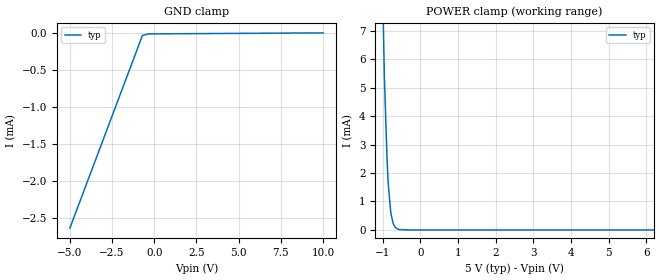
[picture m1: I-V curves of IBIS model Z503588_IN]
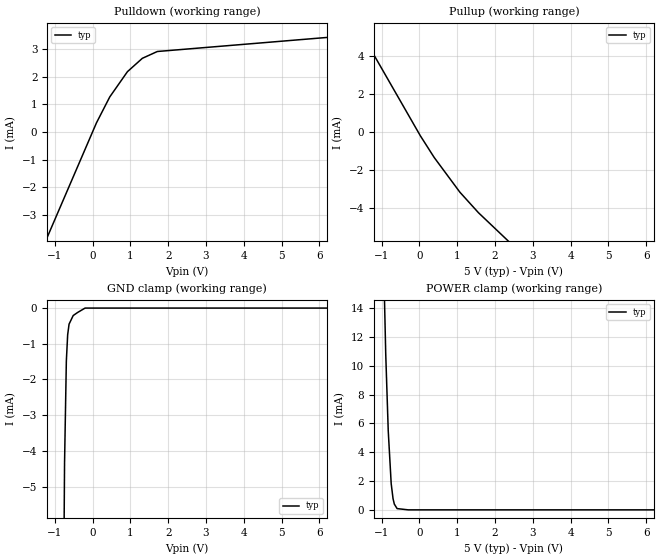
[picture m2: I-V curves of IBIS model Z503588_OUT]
| YOU ARE ONLY AUTHORIZED TO USE THIS SOFTWARE
| ACCORDING TO LICENSOR'S LICENSE RESTRICTIONS.
[IBIS Ver] 3.1
[File Name] mc14163bcl.ibs
[File Rev] 2.0
[Source] Measured and created by ICX Technology
[Date] Friday 7/14/00 9:07:53 AM
[Copyright]
| (C) COPYRIGHT 1993-2000
| MENTOR GRAPHICS CORPORATION
| ICX STANDARD LIBRARY, ICX PROJECT MODELING,
| ICX CUSTOM MODELING, ICX VENDOR MODEL
| ALL RIGHTS RESERVED.
| THE FOLLOWING ARE TRADEMARKS OR SERVICE MARKS OF
| MENTOR GRAPHICS CORPORATION:ICX (R), ICX STANDARD
| LIBRARY(R), ICX PROJECT MODELING(R), ICX CUSTOM
| MODELING(R), qualityIBIS(TM), MODELVIEWER(TM),
| AND MODELEDITOR(TM)
| ALL COPIES OF SOFTWARE, INCLUDING BUT NOT LIMITED TO
| ANY MODIFICATIONS, ENHANCEMENTS OR DERIVATIVE WORKS,
| MUST CONTAIN ALL MENTOR GRAPHICS CORPORATION'S
| NOTICES AND LEGENDS, INCLUDING THOSE EMBEDDED IN
| SOFTWARE AND THOSE AFFIXED TO SOFTWARE MEDIUM
| AND CONTAINER, AS RECEIVED FROM MENTOR GRAPHICS
| CORPORATION.
|  ZAP Model Builder 2.7
[Component] MC14163BCL
[Manufacturer] OnSemiconductor
[Package]
| variable   typ   min   max
R_pkg  .212ohms NA NA
L_pkg  4.758nH NA NA
C_pkg  1.944pF NA NA
[Pin] signal_name  model_name  R_pin  L_pin C_pin
1 _CLR Z503588_IN .224 7.258n 2.683p
2 CLK Z503588_IN .216 5.258n 2.19p
3 P1 Z503588_IN .208 3.758n 1.697p
4 P2 Z503588_IN .2 2.758n 1.204p
5 P3 Z503588_IN .2 2.758n 1.204p
6 P4 Z503588_IN .208 3.758n 1.697p
7 PE Z503588_IN .216 5.258n 2.19p
8 VSS POWER .224 7.258n 2.683p
9 _LOAD Z503588_IN .224 7.258n 2.683p
10 T_C Z503588_IN .216 5.258n 2.19p
11 Q4 Z503588_OUT .208 3.758n 1.697p
12 Q3 Z503588_OUT .2 2.758n 1.204p
13 Q2 Z503588_OUT .2 2.758n 1.204p
14 Q1 Z503588_OUT .208 3.758n 1.697p
15 CO Z503588_OUT .216 5.258n 2.19p
16 VDD POWER .224 7.258n 2.683p
| Models and submodels in the file (2): Z503588_IN (Input), Z503588_OUT (Output)
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| (C) COPYRIGHT 1993-2000
| MENTOR GRAPHICS CORPORATION
| ICX STANDARD LIBRARY, ICX PROJECT MODELING,
| ICX CUSTOM MODELING, ICX VENDOR MODEL
| ALL RIGHTS RESERVED.
| THE FOLLOWING ARE TRADEMARKS OR SERVICE MARKS OF
| MENTOR GRAPHICS CORPORATION:ICX (R), ICX STANDARD
| LIBRARY(R), ICX PROJECT MODELING(R), ICX CUSTOM
| MODELING(R), qualityIBIS(TM), MODELVIEWER(TM),
| AND MODELEDITOR(TM)
| ALL COPIES OF SOFTWARE, INCLUDING BUT NOT LIMITED TO
| ANY MODIFICATIONS, ENHANCEMENTS OR DERIVATIVE WORKS,
| MUST CONTAIN ALL MENTOR GRAPHICS CORPORATION'S
| NOTICES AND LEGENDS, INCLUDING THOSE EMBEDDED IN
| SOFTWARE AND THOSE AFFIXED TO SOFTWARE MEDIUM
| AND CONTAINER, AS RECEIVED FROM MENTOR GRAPHICS
| CORPORATION.
| Model Application Version 1.89 2/18/99.
[Model] Z503588_IN
Model_type Input
Vinl = 1.500V
Vinh = 3.500V
C_comp 4.000pF NA NA
| variable typ   min   max
[Voltage Range] 5.000V NA NA
[GND Clamp Reference] 0.000V NA NA
[POWER Clamp Reference] 5.000V NA NA
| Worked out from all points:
|   POWER clamp passes 1 mA (typ) near -0.81 V on its own axis
[GND Clamp]
-5V       -2.632mA   NA         NA
-703.2mV  -35.25uA   NA         NA
-351.6mV  -12.95uA   NA         NA
10V       521nA      NA         NA
[POWER Clamp]
-5V       277.7mA    NA         NA
-957mV    5.37mA     NA         NA
-884mV    2.421mA    NA         NA
-854mV    1.612mA    NA         NA
-785mV    587.1uA    NA         NA
-725mV    236.6uA    NA         NA
-669mV    90.14uA    NA         NA
-572mV    12.65uA    NA         NA
-286mV    0A         NA         NA
10V       0A         NA         NA
| (C) COPYRIGHT 1993-2000
| MENTOR GRAPHICS CORPORATION
| ICX STANDARD LIBRARY, ICX PROJECT MODELING,
| ICX CUSTOM MODELING, ICX VENDOR MODEL
| ALL RIGHTS RESERVED.
| THE FOLLOWING ARE TRADEMARKS OR SERVICE MARKS OF
| MENTOR GRAPHICS CORPORATION:ICX (R), ICX STANDARD
| LIBRARY(R), ICX PROJECT MODELING(R), ICX CUSTOM
| MODELING(R), qualityIBIS(TM), MODELVIEWER(TM),
| AND MODELEDITOR(TM)
| ALL COPIES OF SOFTWARE, INCLUDING BUT NOT LIMITED TO
| ANY MODIFICATIONS, ENHANCEMENTS OR DERIVATIVE WORKS,
| MUST CONTAIN ALL MENTOR GRAPHICS CORPORATION'S
| NOTICES AND LEGENDS, INCLUDING THOSE EMBEDDED IN
| SOFTWARE AND THOSE AFFIXED TO SOFTWARE MEDIUM
| AND CONTAINER, AS RECEIVED FROM MENTOR GRAPHICS
| CORPORATION.
| Model Application Version 1.89 2/18/99.
[Model] Z503588_OUT
Model_type Output
Vref=0.000V
Rref=500.0Mohms
Cref=50.00pF
Vmeas=2.500V
C_comp 8.000pF NA NA
| variable typ   min   max
[Voltage Range] 5.000V NA NA
[POWER Clamp Reference] 5.000V NA NA
[Pullup Reference] 5.000V NA NA
[Pulldown Reference] 0.000V NA NA
[GND Clamp Reference] 0.000V NA NA
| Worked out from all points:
|   slope of the pulldown table from 0 to 0.75 V, typ, clamps not added: 407 ohm
|   slope of the pullup table from 0 to 0.75 V, typ, clamps not added: 342 ohm
|   GND clamp passes 1 mA (typ) near -0.67 V on its own axis
|   POWER clamp passes 1 mA (typ) near -0.71 V on its own axis
[GND Clamp]
-5V       -641.9mA   NA         NA
-741mV    -4.348mA   NA         NA
-693.4mV  -1.485mA   NA         NA
-658.5mV  -747.9uA   NA         NA
-621.4mV  -449.8uA   NA         NA
-512.4mV  -209.4uA   NA         NA
-395.2mV  -123uA     NA         NA
-197.6mV  0A         NA         NA
10V       0A         NA         NA
[Pulldown]
-5V       -15.89mA   NA         NA
103.1mV   333.1uA    NA         NA
454.5mV   1.271mA    NA         NA
922.5mV   2.186mA    NA         NA
1.317V    2.67mA     NA         NA
1.714V    2.917mA    NA         NA
10V       3.856mA    NA         NA
[Pullup]
-5V       17.22mA    NA         NA
24mV      -193.6uA   NA         NA
391mV     -1.338mA   NA         NA
1.07V     -3.164mA   NA         NA
1.561V    -4.244mA   NA         NA
10V       -20.2mA    NA         NA
[POWER Clamp]
-5V       480.6mA    NA         NA
-891mV    10.78mA    NA         NA
-825mV    5.477mA    NA         NA
-747mV    1.819mA    NA         NA
-698mV    772.5uA    NA         NA
-664mV    399.3uA    NA         NA
-591mV    87.31uA    NA         NA
-295.5mV  0A         NA         NA
10V       0A         NA         NA
[Ramp]
| variable typ min max
dV/dt_r 2.668/18.60n NA NA
dV/dt_f 2.668/20.18n NA NA
R_load = 2.500kOhms
